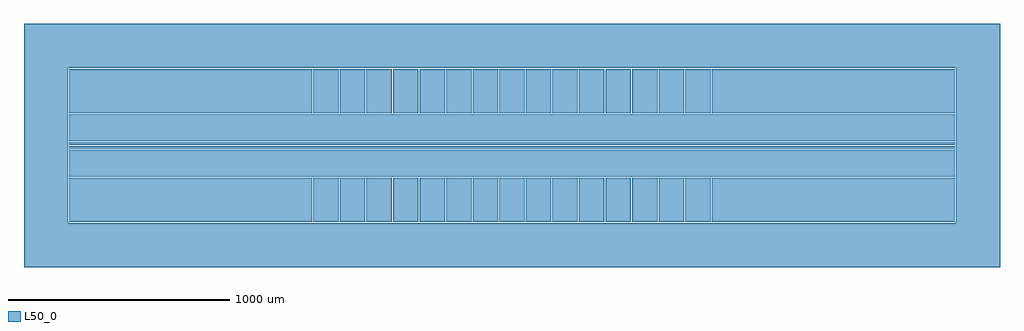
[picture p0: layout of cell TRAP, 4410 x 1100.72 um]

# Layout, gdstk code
import gdstk
lib = gdstk.Library(unit=1e-6, precision=1e-09)
def R(c, l, rs):  # rectangles x0, y0, x1, y1
    for r in rs: c.add(gdstk.rectangle(r[:2], r[2:], *l))
def A(c, l, x, y, w, h, nx, ny, dx, dy):  # array of equal rectangles
    R(c, l, [(x+i*dx, y+j*dy, x+i*dx+w, y+j*dy+h) for i in range(nx) for j in range(ny)])
def P(c, l, *ps):  # polygons
    for p in ps: c.add(gdstk.Polygon(p, *l))
L50_0 = (50, 0)

trap = lib.new_cell('TRAP')
A(trap, L50_0, -897.5, -345.36, 115, 200, 15, 2, 120, 490.72)
R(trap, L50_0, [(-2000,-345.36,-902.5,-145.36), (902.5,-345.36,2000,-145.36), (-2000,-140.36,2000,-20), (-2000,-15,2000,-2.5), (-2000,2.5,2000,15), (-2000,20,2000,140.36), (-2000,145.36,-902.5,345.36), (902.5,145.36,2000,345.36)])
P(trap, L50_0, [(2205,550.36),(-2205,550.36),(-2205,-350.36),(-2005,-350.36),(-2005,350.36),(2005,350.36),(2005,-350.36),(-2005,-350.36),(-2205,-350.36),(-2205,-550.36),(2205,-550.36)])

lib.write_gds('TRAP.gds')
